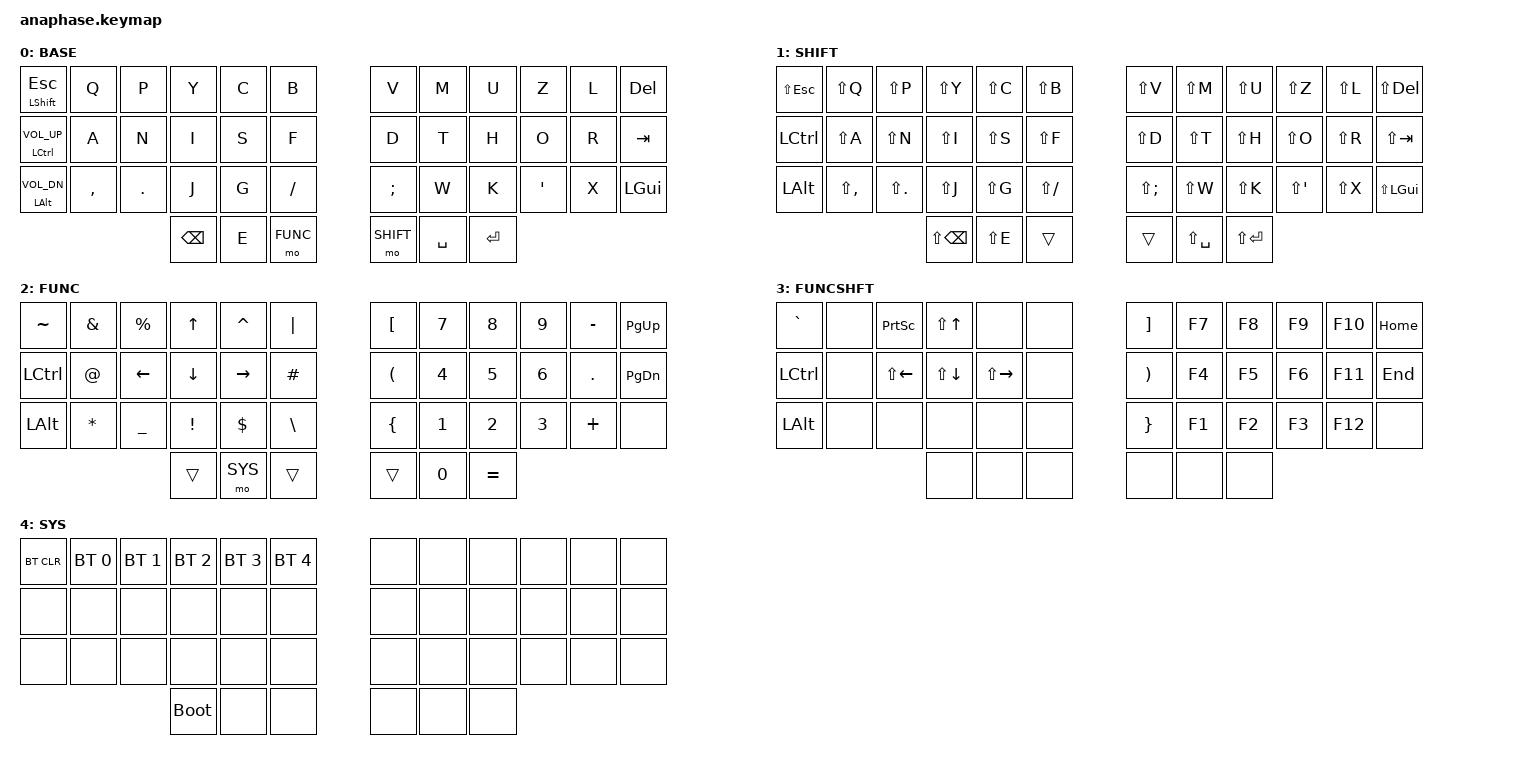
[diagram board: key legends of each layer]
#include <behaviors.dtsi>
#include <dt-bindings/zmk/keys.h>
#include <dt-bindings/zmk/bt.h>
#include <dt-bindings/zmk/outputs.h>

// Layers
#define BASE 0
#define SHIFT 1
#define FUNC 2
#define FNSHFT 3
#define SYS 4

/ {
    conditional_layers {
        compatible = "zmk,conditional-layers";
        tri_layer {
            if-layers = <SHIFT FUNC>;
            then-layer = <FNSHFT>;
        };
    };
};

/ {
    combos {
        compatible = "zmk,combos";
        combo_ctrlalt_mute {
            timeout-ms = <50>;
            key-positions = <12 24>;
            bindings = <&mt LC(LALT) C_MUTE>;
        };
        combo_ctrlshft {
            timeout-ms = <50>;
            key-positions = <0 12>;
            bindings = <&kp LC(LSHFT)>;
        };
        combo_altshft {
            timeout-ms = <50>;
            key-positions = <0 24>;
            bindings = <&kp LA(LSHFT)>;
        };
        combo_ctrlaltshft {
            timeout-ms = <50>;
            key-positions = <0 12 24>;
            bindings = <&kp LC(LA(LSHFT))>;
        };
    };
};


/ {
    keymap {
        compatible = "zmk,keymap";

        BASE {
            label = "BASE";
            bindings = <
//  1                  2         3       4        5     6        7         8         9         10      11    12                   
&mt LSHFT ESC      &kp Q     &kp P   &kp Y    &kp C &kp B    &kp V     &kp M     &kp U     &kp Z   &kp L  &kp DEL 
&mt LCTRL C_VOL_UP &kp A     &kp N   &kp I    &kp S &kp F    &kp D     &kp T     &kp H     &kp O   &kp R  &kp TAB
&mt LALT  C_VOL_DN &kp COMMA &kp DOT &kp J    &kp G &kp FSLH &kp SEMI  &kp W     &kp K     &kp SQT &kp X  &kp LGUI
                            &kp BSPC &kp E &mo FUNC &mo SHIFT &kp SPACE &kp ENTER  
            >;

        };

        SHIFT {
            label = "SHIFT";
            bindings = <
// 1               2             3           4            5         6            7            8             9             10          11         12                   
&kp LS(ESC) &kp LS(Q)     &kp LS(P)   &kp LS(Y)    &kp LS(C) &kp LS(B)    &kp LS(V)    &kp LS(M)     &kp LS(U)     &kp LS(Z)   &kp LS(L)  &kp LS(DEL) 
&kp LCTRL   &kp LS(A)     &kp LS(N)   &kp LS(I)    &kp LS(S) &kp LS(F)    &kp LS(D)    &kp LS(T)     &kp LS(H)     &kp LS(O)   &kp LS(R)  &kp LS(TAB)
&kp LALT    &kp LS(COMMA) &kp LS(DOT) &kp LS(J)    &kp LS(G) &kp LS(FSLH) &kp LS(SEMI) &kp LS(W)     &kp LS(K)     &kp LS(SQT) &kp LS(X)  &kp LS(LGUI)
                                      &kp LS(BSPC) &kp LS(E) &trans       &trans       &kp LS(SPACE) &kp LS(ENTER)  
            >;

        };

        FUNC {
            label = "FUNC";
            bindings = <
//  1         2        3         4        5         6        7          8      9      10     11        12                   
&kp TILDE &kp AMPS &kp PRCNT &kp UP   &kp CARET &kp PIPE &kp LBKT   &kp N7 &kp N8 &kp N9 &kp MINUS &kp PG_UP 
&kp LCTRL &kp AT   &kp LEFT  &kp DOWN &kp RIGHT &kp HASH &kp LPAR   &kp N4 &kp N5 &kp N6 &kp DOT   &kp PG_DN
&kp LALT  &kp STAR &kp UNDER &kp EXCL &kp DLLR  &kp BSLH &kp LBRC   &kp N1 &kp N2 &kp N3 &kp PLUS  &none
                             &trans   &mo SYS   &trans   &trans     &kp N0 &kp EQUAL  
            >;

        };

        FNSHFT {
            label = "FUNCSHFT";
            bindings = <
//  1     2         3             4            5         6         7        8      9      10     11      12                   
&kp GRAVE &none &kp PSCRN     &kp LS(UP)   &none         &none &kp RBKT &kp F7 &kp F8 &kp F9 &kp F10 &kp HOME
&kp LCTRL &none &kp LS(LEFT)  &kp LS(DOWN) &kp LS(RIGHT) &none &kp RPAR &kp F4 &kp F5 &kp F6 &kp F11 &kp END
&kp LALT  &none &none         &none        &none         &none &kp RBRC &kp F1 &kp F2 &kp F3 &kp F12 &none
                              &none        &none         &none &none    &none  &none  
            >;

        };

        SYS {
            label = "SYS";
            bindings = <
//1        2            3            4            5            6            7     8     9     10    11    12                   
&bt BT_CLR &bt BT_SEL 0 &bt BT_SEL 1 &bt BT_SEL 2 &bt BT_SEL 3 &bt BT_SEL 4 &none &none &none &none &none &none                
&none      &none        &none        &none        &none        &none        &none &none &none &none &none &none                
&none      &none        &none        &none        &none        &none        &none &none &none &none &none &none 
                                     &bootloader  &none        &none        &none &none &none  
            >;

        };

    };
};



